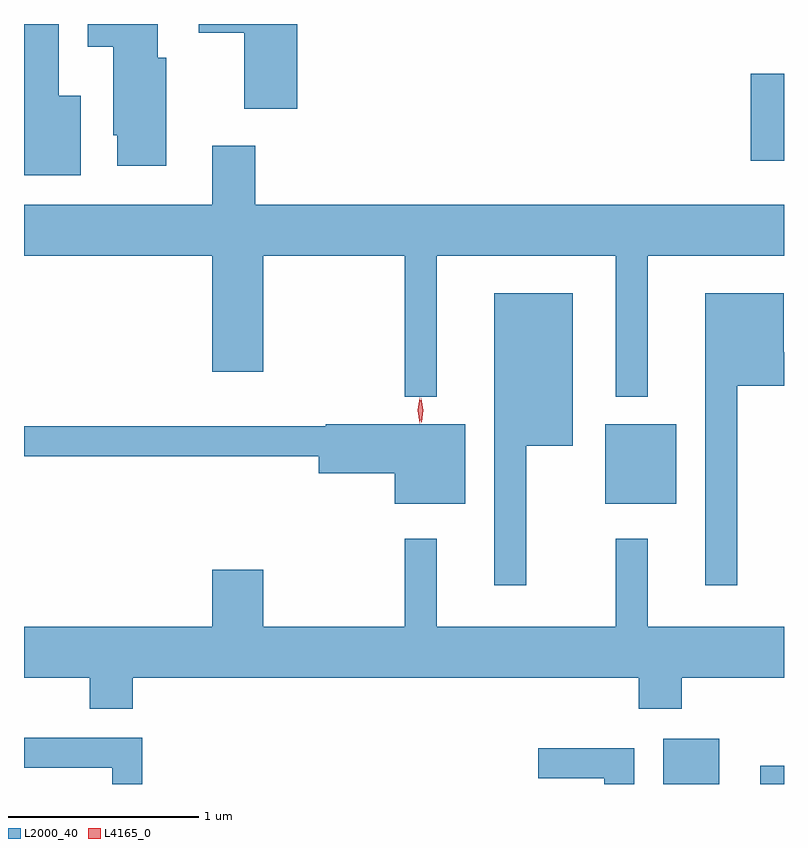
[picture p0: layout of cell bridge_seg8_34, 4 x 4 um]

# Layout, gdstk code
import gdstk
lib = gdstk.Library(unit=1e-6, precision=1e-09)
def R(c, l, rs):  # rectangles x0, y0, x1, y1
    for r in rs: c.add(gdstk.rectangle(r[:2], r[2:], *l))
def P(c, l, *ps):  # polygons
    for p in ps: c.add(gdstk.Polygon(p, *l))
L2000_40 = (2000, 40)
L4165_0 = (4165, 0)

bridge_seg8_34 = lib.new_cell('bridge_seg8_34')
R(bridge_seg8_34, L2000_40, [(1496.171,1906.896,1496.464,1907.134), (1496.681,1906.896,1496.806,1906.993), (1495.866,1908.371,1496.239,1908.789), (1496.631,1910.176,1496.806,1910.634)])
P(bridge_seg8_34, L2000_40, [(1494.244,1910.896),(1493.726,1910.896),(1493.726,1910.851),(1493.966,1910.851),(1493.966,1910.451),(1494.244,1910.451)],
  [(1493.554,1910.719),(1493.509,1910.719),(1493.509,1910.896),(1493.141,1910.896),(1493.141,1910.776),(1493.276,1910.776),(1493.276,1910.311),(1493.296,1910.311),(1493.296,1910.151),(1493.554,1910.151)],
  [(1493.104,1910.519),(1492.989,1910.519),(1492.989,1910.896),(1492.806,1910.896),(1492.806,1910.101),(1493.104,1910.101)],
  [(1494.979,1909.676),(1495.921,1909.676),(1495.921,1908.933),(1496.089,1908.933),(1496.089,1909.676),(1496.806,1909.676),(1496.806,1909.944),(1494.024,1909.944),(1494.024,1910.254),(1493.796,1910.254),(1493.796,1909.944),(1492.806,1909.944),(1492.806,1909.676),(1493.796,1909.676),(1493.796,1909.066),(1494.064,1909.066),(1494.064,1909.676),(1494.811,1909.676),(1494.811,1908.933),(1494.979,1908.933)],
  [(1496.559,1908.991),(1496.806,1908.991),(1496.806,1909.169),(1496.804,1909.169),(1496.804,1909.479),(1496.391,1909.479),(1496.391,1907.943),(1496.559,1907.943)],
  [(1495.449,1908.676),(1495.694,1908.676),(1495.694,1909.479),(1495.281,1909.479),(1495.281,1907.943),(1495.449,1907.943)],
  [(1495.129,1908.789),(1494.395,1908.789),(1494.395,1908.779),(1492.806,1908.779),(1492.806,1908.621),(1494.356,1908.621),(1494.356,1908.531),(1494.756,1908.531),(1494.756,1908.371),(1495.129,1908.371)],
  [(1496.041,1907.291),(1496.269,1907.291),(1496.269,1907.456),(1496.806,1907.456),(1496.806,1907.724),(1496.089,1907.724),(1496.089,1908.188),(1495.921,1908.188),(1495.921,1907.724),(1494.979,1907.724),(1494.979,1908.188),(1494.811,1908.188),(1494.811,1907.724),(1494.064,1907.724),(1494.064,1908.024),(1493.796,1908.024),(1493.796,1907.724),(1492.806,1907.724),(1492.806,1907.456),(1493.151,1907.456),(1493.151,1907.291),(1493.379,1907.291),(1493.379,1907.456),(1496.041,1907.456)],
  [(1493.429,1907.139),(1492.806,1907.139),(1492.806,1906.981),(1493.271,1906.981),(1493.271,1906.896),(1493.429,1906.896)],
  [(1496.019,1907.084),(1495.513,1907.084),(1495.513,1906.926),(1495.861,1906.926),(1495.861,1906.896),(1496.019,1906.896)])
P(bridge_seg8_34, L4165_0, [(1494.898,1908.8),(1494.898,1908.8),(1494.888,1908.863),(1494.897,1908.926),(1494.898,1908.927),(1494.898,1908.926),(1494.908,1908.863),(1494.899,1908.8)],
  [(1494.888,1908.794),(1494.879,1908.862),(1494.888,1908.93),(1494.888,1908.93),(1494.889,1908.93),(1494.898,1908.862),(1494.889,1908.794),(1494.889,1908.794)])

lib.write_gds('bridge_seg8_34.gds')
